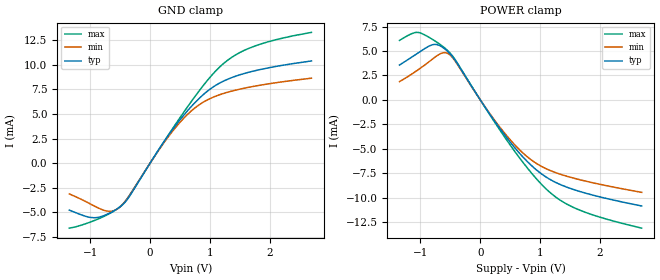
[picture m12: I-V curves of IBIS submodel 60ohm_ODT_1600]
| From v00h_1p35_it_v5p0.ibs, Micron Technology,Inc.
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| SUBMODEL 60ohm_ODT_1600
[Submodel]   60ohm_ODT_1600
Submodel_type  Dynamic_clamp
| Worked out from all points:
|   POWER clamp passes 1 mA (typ) near -0.10 V on its own axis
[GND Clamp]
|   Voltage   I(typ)   I(min)   I(max)
-1.35V    -4.762mA   -3.114mA   -6.593mA
-935mV    -5.539mA   -4.336mA   -5.829mA
-690mV    -5.107mA   -4.885mA   -5.16mA
-550mV    -4.64mA    -4.658mA   -4.642mA
-360mV    -3.508mA   -3.427mA   -3.407mA
225mV     2.109mA    2.016mA    2.116mA
570mV     4.923mA    4.608mA    5.231mA
925mV     7.147mA    6.322mA    8.155mA
1.26V     8.429mA    7.146mA    10.28mA
1.495V    8.967mA    7.516mA    11.22mA
1.79V     9.445mA    7.872mA    11.98mA
2.7V      10.39mA    8.64mA     13.29mA
[POWER Clamp]
|   Voltage   I(typ)   I(min)   I(max)
-1.35V    3.555mA    1.859mA    6.079mA
-1.015V   4.889mA    3.174mA    6.865mA
-755mV    5.67mA     4.365mA    6.014mA
-630mV    5.374mA    4.795mA    5.481mA
-540mV    4.925mA    4.74mA     5.01mA
-430mV    4.133mA    4.055mA    4.205mA
150mV     -1.379mA   -1.326mA   -1.434mA
465mV     -4.045mA   -3.831mA   -4.31mA
795mV     -6.363mA   -5.871mA   -7.028mA
1.145V    -8.068mA   -7.169mA   -9.365mA
1.645V    -9.346mA   -8.15mA    -11.24mA
2.7V      -10.87mA   -9.475mA   -13.14mA
